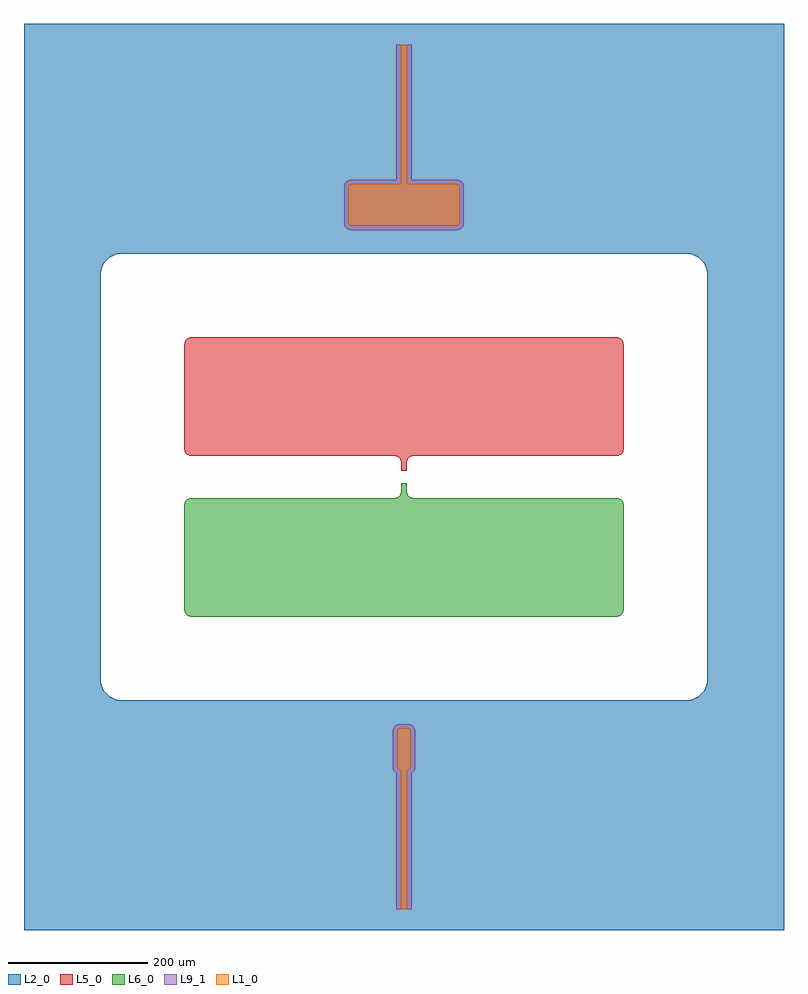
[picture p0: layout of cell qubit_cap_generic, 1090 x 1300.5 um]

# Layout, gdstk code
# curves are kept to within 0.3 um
from math import pi, radians
import gdstk
lib = gdstk.Library(unit=1e-6, precision=1e-09)
def R(c, l, rs):  # rectangles x0, y0, x1, y1
    for r in rs: c.add(gdstk.rectangle(r[:2], r[2:], *l))
def P(c, l, *ps):  # polygons
    for p in ps: c.add(gdstk.Polygon(p, *l))
L1_0 = (1, 0)
L2_0 = (2, 0)
L5_0 = (5, 0)
L6_0 = (6, 0)
L9_1 = (9, 1)

round_rectangle_0c718cdc = lib.new_cell('round_rectangle_0c718cdc')
P(round_rectangle_0c718cdc, L5_0, [(-305,30.25),(307.079,30.469),(310.878,32.16),(313.09,34.372),(314.511,37.16),(315,40.25),(314.781,192.329),(313.09,196.128),(310.878,198.34),(308.09,199.761),(305,200.25),(-307.079,200.031),(-310.878,198.34),(-313.09,196.128),(-314.511,193.34),(-315,190.25),(-315,40.25),(-314.511,37.16),(-312.431,33.559),(-309.067,31.115)])

round_rectangle_8ad22f53 = lib.new_cell('round_rectangle_8ad22f53')
R(round_rectangle_8ad22f53, L5_0, [(-4,-10.625,4,10.625)])

fillet_cutout_90deg_1908 = lib.new_cell('fillet_cutout_90deg_19087955')
P(fillet_cutout_90deg_1908, L5_0, [(0,0),(7.071,7.071),(5.556,5.827),(3.827,4.903),(1.951,4.334),(0,4.142),(-1.951,4.334),(-3.827,4.903),(-5.556,5.827),(-7.071,7.071)])

fillet_cutout_90deg_7294 = lib.new_cell('fillet_cutout_90deg_72947cdf')
P(fillet_cutout_90deg_7294, L5_0, [(0,0),(-7.071,-7.071),(-5.556,-5.827),(-3.827,-4.903),(-1.951,-4.334),(0,-4.142),(1.951,-4.334),(3.827,-4.903),(5.556,-5.827),(7.071,-7.071)])

round_rectangle_d4803523 = lib.new_cell('round_rectangle_d4803523')
P(round_rectangle_d4803523, L6_0, [(-305,-200.25),(307.079,-200.031),(310.878,-198.34),(313.09,-196.128),(314.511,-193.34),(315,-190.25),(314.781,-38.171),(313.09,-34.372),(310.878,-32.16),(308.09,-30.739),(305,-30.25),(-307.079,-30.469),(-310.878,-32.16),(-313.09,-34.372),(-314.511,-37.16),(-315,-40.25),(-315,-190.25),(-314.511,-193.34),(-312.431,-196.941),(-309.067,-199.385)])

round_rectangle_b819cd4d = lib.new_cell('round_rectangle_b819cd4d')
R(round_rectangle_b819cd4d, L6_0, [(-4,-10.625,4,10.625)])

fillet_cutout_90deg_0e94 = lib.new_cell('fillet_cutout_90deg_0e94dd91')
P(fillet_cutout_90deg_0e94, L6_0, [(0,0),(7.071,7.071),(5.556,5.827),(3.827,4.903),(1.951,4.334),(0,4.142),(-1.951,4.334),(-3.827,4.903),(-5.556,5.827),(-7.071,7.071)])

fillet_cutout_90deg_25a9 = lib.new_cell('fillet_cutout_90deg_25a9f91b')
P(fillet_cutout_90deg_25a9, L6_0, [(0,0),(-7.071,-7.071),(-5.556,-5.827),(-3.827,-4.903),(-1.951,-4.334),(0,-4.142),(1.951,-4.334),(3.827,-4.903),(5.556,-5.827),(7.071,-7.071)])

round_rectangle_80ea1818 = lib.new_cell('round_rectangle_80ea1818')
P(round_rectangle_80ea1818, L1_0, [(-75,-30),(76.545,-29.755),(78.716,-28.346),(79.973,-25.523),(79.755,26.545),(77.939,29.045),(75,30),(-76.545,29.755),(-78.716,28.346),(-79.973,25.523),(-80,-25),(-79.568,-27.034),(-78.716,-28.346),(-77.034,-29.568)])

straight_cpw_length_um20 = lib.new_cell('straight_cpw_length_um200p0')
R(straight_cpw_length_um20, L1_0, [(0,-5,200,5)])
R(straight_cpw_length_um20, L9_1, [(0,-11,200,11)])

round_rectangle_17549938 = lib.new_cell('round_rectangle_17549938')
P(round_rectangle_17549938, L9_1, [(-76,354.25),(76,354.25),(80.067,355.115),(81.878,356.16),(84.09,358.372),(85.511,361.16),(85.945,363.205),(86,416.25),(85.135,420.317),(84.09,422.128),(81.878,424.34),(79.09,425.761),(76,426.25),(-76,426.25),(-80.067,425.385),(-81.878,424.34),(-84.09,422.128),(-85.511,419.34),(-85.945,417.295),(-85.945,363.205),(-84.66,359.25),(-82.691,356.819),(-79.09,354.739)])

round_rectangle_radius5p = lib.new_cell('round_rectangle_radius5p0_size20p0__60p0')
P(round_rectangle_radius5p, L1_0, [(-5,-30),(6.04,-29.891),(8.346,-28.716),(9.891,-26.04),(9.973,25.523),(8.716,28.346),(6.04,29.891),(-6.04,29.891),(-8.346,28.716),(-9.891,26.04),(-9.973,-25.523),(-9.568,-27.034),(-8.346,-28.716),(-7.034,-29.568)])

round_rectangle_42cf69cb = lib.new_cell('round_rectangle_42cf69cb')
P(round_rectangle_42cf69cb, L9_1, [(-6,-426.25),(6,-426.25),(9.09,-425.761),(11.878,-424.34),(13.431,-422.941),(14.66,-421.25),(15.781,-418.329),(15.945,-363.205),(15.135,-360.183),(13.431,-357.559),(11,-355.59),(8.079,-354.469),(-6,-354.25),(-9.09,-354.739),(-11.878,-356.16),(-13.431,-357.559),(-14.66,-359.25),(-15.781,-362.171),(-15.945,-417.295),(-14.66,-421.25),(-12.691,-423.681),(-9.09,-425.761)])

unnamed_37439145 = lib.new_cell('Unnamed_37439145')
P(unnamed_37439145, L2_0, [(545,650.25),(-545,650.25),(-545,-290.25),(-435,-290.25),(-435,290.25),(-434.836,293.386),(-433.532,299.521),(-430.981,305.25),(-427.294,310.324),(-422.634,314.521),(-420,316.231),(-414.271,318.782),(-408.136,320.086),(-405,320.25),(405,320.25),(408.136,320.086),(414.271,318.782),(420,316.231),(425.074,312.544),(429.271,307.884),(432.406,302.452),(434.344,296.487),(435,290.25),(435,-290.25),(434.344,-296.487),(432.406,-302.452),(429.271,-307.884),(425.074,-312.544),(420,-316.231),(414.271,-318.782),(408.136,-320.086),(405,-320.25),(-405,-320.25),(-408.136,-320.086),(-414.271,-318.782),(-420,-316.231),(-425.074,-312.544),(-429.271,-307.884),(-432.406,-302.452),(-434.344,-296.487),(-435,-290.25),(-545,-290.25),(-545,-650.25),(545,-650.25)])

qubit_cap_generic = lib.new_cell('qubit_cap_generic')
qubit_cap_generic.add(gdstk.Reference(round_rectangle_0c718cdc, (0,0)))
qubit_cap_generic.add(gdstk.Reference(round_rectangle_8ad22f53, (0,19.625)))
qubit_cap_generic.add(gdstk.Reference(fillet_cutout_90deg_1908, (4,30.25), rotation=radians(225)))
qubit_cap_generic.add(gdstk.Reference(fillet_cutout_90deg_7294, (-4,30.25), rotation=radians(315)))
qubit_cap_generic.add(gdstk.Reference(round_rectangle_d4803523, (0,0)))
qubit_cap_generic.add(gdstk.Reference(round_rectangle_b819cd4d, (0,-19.625), rotation=pi))
qubit_cap_generic.add(gdstk.Reference(fillet_cutout_90deg_0e94, (-4,-30.25), rotation=radians(45)))
qubit_cap_generic.add(gdstk.Reference(fillet_cutout_90deg_25a9, (4,-30.25), rotation=radians(135)))
qubit_cap_generic.add(gdstk.Reference(round_rectangle_80ea1818, (0,390.25)))
qubit_cap_generic.add(gdstk.Reference(straight_cpw_length_um20, (0,420.25), rotation=pi/2))
qubit_cap_generic.add(gdstk.Reference(round_rectangle_17549938, (0,0)))
qubit_cap_generic.add(gdstk.Reference(round_rectangle_radius5p, (0,-390.25)))
qubit_cap_generic.add(gdstk.Reference(straight_cpw_length_um20, (0,-420.25), rotation=3*pi/2))
qubit_cap_generic.add(gdstk.Reference(round_rectangle_42cf69cb, (0,0)))
qubit_cap_generic.add(gdstk.Reference(unnamed_37439145, (0,0)))

lib.write_gds('qubit_cap_generic.gds')
